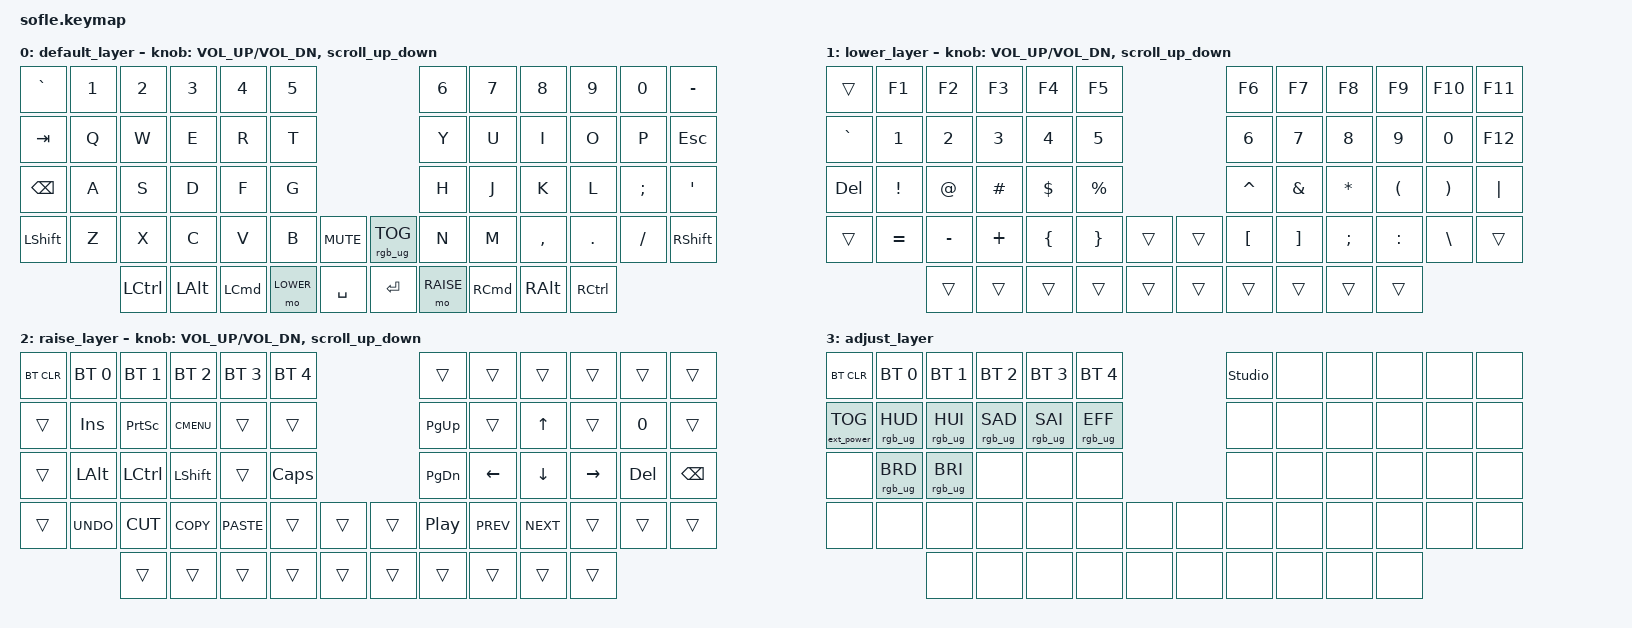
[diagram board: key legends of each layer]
/*
 * Copyright (c) 2020 The ZMK Contributors
 *
 * SPDX-License-Identifier: MIT
 */

#include <behaviors.dtsi>
#include <dt-bindings/zmk/bt.h>
#include <dt-bindings/zmk/ext_power.h>
#include <dt-bindings/zmk/keys.h>
#include <dt-bindings/zmk/pointing.h>
#include <dt-bindings/zmk/rgb.h>

#define BASE 0
#define LOWER 1
#define RAISE 2
#define ADJUST 3

/ {
    // Activate ADJUST layer by pressing raise and lower

    conditional_layers {
        compatible = "zmk,conditional-layers";

        adjust_layer {
            if-layers = <LOWER RAISE>;
            then-layer = <ADJUST>;
        };
    };

    behaviors {
        scroll_up_down: scroll_up_down {
            compatible = "zmk,behavior-sensor-rotate";
            label = "SCROLL_UP_DOWN";
            #sensor-binding-cells = <0>;
            bindings = <&msc SCRL_UP>, <&msc SCRL_DOWN>;

            tap-ms = <40>;
        };
    };

    keymap {
        compatible = "zmk,keymap";

        default_layer {
            // ------------------------------------------------------------------------------------------------------------
            // |   `   |  1  |  2  |  3   |  4   |  5   |                   |  6   |  7    |  8    |  9   |   0   |       |
            // |  ESC  |  Q  |  W  |  E   |  R   |  T   |                   |  Y   |  U    |  I    |  O   |   P   | BKSPC |
            // |  TAB  |  A  |  S  |  D   |  F   |  G   |                   |  H   |  J    |  K    |  L   |   ;   |   '   |
            // | SHIFT |  Z  |  X  |  C   |  V   |  B   |  MUTE  |  |       |  N   |  M    |  ,    |  .   |   /   | SHIFT |
            //               | GUI | ALT  | CTRL | LOWER|  ENTER |  | SPACE | RAISE| CTRL  | ALT   | GUI  |

            bindings = <
&kp GRAVE      &kp N1  &kp N2     &kp N3    &kp N4    &kp N5                                    &kp N6     &kp N7    &kp N8     &kp N9     &kp N0    &kp MINUS
&kp TAB        &kp Q   &kp W      &kp E     &kp R     &kp T                                     &kp Y      &kp U     &kp I      &kp O      &kp P     &kp ESC
&kp BACKSPACE  &kp A   &kp S      &kp D     &kp F     &kp G                                     &kp H      &kp J     &kp K      &kp L      &kp SEMI  &kp SQT
&kp LSHFT      &kp Z   &kp X      &kp C     &kp V     &kp B      &kp C_MUTE    &rgb_ug RGB_TOG  &kp N      &kp M     &kp COMMA  &kp DOT    &kp FSLH  &kp RSHFT
                       &kp LCTRL  &kp LALT  &kp LCMD  &mo LOWER  &kp SPACE     &kp ENTER        &mo RAISE  &kp RCMD  &kp RALT   &kp RCTRL
            >;

            sensor-bindings =
                <&inc_dec_kp C_VOL_UP C_VOL_DN>,
                <&scroll_up_down>;
        };

        lower_layer {
            // TODO: Some binds are waiting for shifted keycode support.
            // ------------------------------------------------------------------------------------------------------------
            // |       |  F1 |  F2 |  F3  |  F4  |  F5  |                   |  F6  |  F7   |  F8   |  F9  |  F10  |  F11  |
            // |   `   |  1  |  2  |  3   |  4   |  5   |                   |  6   |  7    |  8    |  9   |   0   |  F12  |
            // |       |  !  |  @  |  #   |  $   |  %   |                   |  ^   |  &    |  *    |  (   |   )   |   |   |
            // |       |  =  |  -  |  +   |  {   |  }   |        |  |       |  [   |  ]    |  ;    |  :   |   \   |       |
            //               |     |      |      |      |        |  |       |      |       |       |      |

            bindings = <
&trans      &kp F1     &kp F2     &kp F3    &kp F4    &kp F5                       &kp F6     &kp F7    &kp F8     &kp F9     &kp F10   &kp F11
&kp GRAVE   &kp N1     &kp N2     &kp N3    &kp N4    &kp N5                       &kp N6     &kp N7    &kp N8     &kp N9     &kp N0    &kp F12
&kp DELETE  &kp EXCL   &kp AT     &kp HASH  &kp DLLR  &kp PRCNT                    &kp CARET  &kp AMPS  &kp ASTRK  &kp LPAR   &kp RPAR  &kp PIPE
&trans      &kp EQUAL  &kp MINUS  &kp PLUS  &kp LBRC  &kp RBRC   &trans    &trans  &kp LBKT   &kp RBKT  &kp SEMI   &kp COLON  &kp BSLH  &trans
                       &trans     &trans    &trans    &trans     &trans    &trans  &trans     &trans    &trans     &trans
            >;

            sensor-bindings =
                <&inc_dec_kp C_VOL_UP C_VOL_DN>,
                <&scroll_up_down>;
        };

        raise_layer {
            // ------------------------------------------------------------------------------------------------------------
            // | BTCLR | BT1  | BT2  |  BT3  |  BT4  |  BT5 |                |      |      |       |      |       |       |
            // |       | INS  | PSCR | GUI   |       |      |                | PGUP |      |   ^   |      |       |       |
            // |       | ALT  | CTRL | SHIFT |       | CAPS |                | PGDN |   <- |   v   |  ->  |  DEL  | BKSPC |
            // |       | UNDO | CUT  | COPY  | PASTE |      |      |  |      |      |      |       |      |       |       |
            //                |      |       |       |      |      |  |      |      |      |       |      |

            bindings = <
&bt BT_CLR  &bt BT_SEL 0  &bt BT_SEL 1  &bt BT_SEL 2  &bt BT_SEL 3  &bt BT_SEL 4                    &trans            &trans      &trans      &trans     &trans   &trans
&trans      &kp INS       &kp PSCRN     &kp K_CMENU   &trans        &trans                          &kp PG_UP         &trans      &kp UP      &trans     &kp N0   &trans
&trans      &kp LALT      &kp LCTRL     &kp LSHFT     &trans        &kp CLCK                        &kp PG_DN         &kp LEFT    &kp DOWN    &kp RIGHT  &kp DEL  &kp BSPC
&trans      &kp K_UNDO    &kp K_CUT     &kp K_COPY    &kp K_PASTE   &trans        &trans    &trans  &kp C_PLAY_PAUSE  &kp C_PREV  &kp C_NEXT  &trans     &trans   &trans
                          &trans        &trans        &trans        &trans        &trans    &trans  &trans            &trans      &trans      &trans
            >;

            sensor-bindings =
                <&inc_dec_kp C_VOL_UP C_VOL_DN>,
                <&scroll_up_down>;
        };

        adjust_layer {
            // ----------------------------------------------------------------------------------------------------------------------------
            // | BTCLR  |  BT1    |  BT2    |   BT3   |   BT4   |   BT5   |                  |      |      |       |      |       |       |
            // | EXTPWR | RGB_HUD | RGB_HUI | RGB_SAD | RGB_SAI | RGB_EFF |                  |      |      |       |      |       |       |
            // |        | RGB_BRD | RGB_BRI |         |         |         |                  |      |      |       |      |       |       |
            // |        |         |         |         |         |         | RGB_TOG | |      |      |      |       |      |       |       |
            //                    |         |         |         |         |         | |      |      |      |       |      |

            bindings = <
&bt BT_CLR         &bt BT_SEL 0     &bt BT_SEL 1     &bt BT_SEL 2     &bt BT_SEL 3     &bt BT_SEL 4                     &studio_unlock  &none  &none  &none  &none  &none
&ext_power EP_TOG  &rgb_ug RGB_HUD  &rgb_ug RGB_HUI  &rgb_ug RGB_SAD  &rgb_ug RGB_SAI  &rgb_ug RGB_EFF                  &none           &none  &none  &none  &none  &none
&none              &rgb_ug RGB_BRD  &rgb_ug RGB_BRI  &none            &none            &none                            &none           &none  &none  &none  &none  &none
&none              &none            &none            &none            &none            &none            &none    &none  &none           &none  &none  &none  &none  &none
                                    &none            &none            &none            &none            &none    &none  &none           &none  &none  &none
            >;
        };

        extra1 { status = "reserved"; };

        extra2 { status = "reserved"; };

        extra3 { status = "reserved"; };

        extra4 { status = "reserved"; };
    };
};
